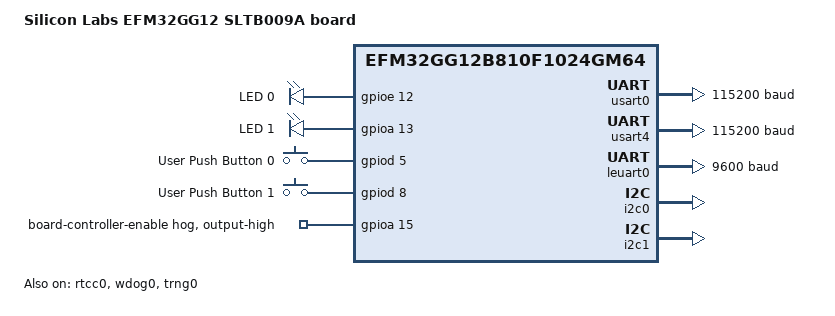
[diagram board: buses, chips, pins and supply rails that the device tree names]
/*
 * Copyright (c) 2023 Antmicro <www.antmicro.com>
 *
 * SPDX-License-Identifier: Apache-2.0
 */

/dts-v1/;
#include <silabs/efm32gg12b810f1024gm64.dtsi>
#include <zephyr/dt-bindings/input/input-event-codes.h>
#include "sltb009a-pinctrl.dtsi"

/ {
	model = "Silicon Labs EFM32GG12 SLTB009A board";
	compatible = "silabs,sltb009a";

	chosen {
		zephyr,console = &usart0;
		zephyr,shell-uart = &usart0;
		zephyr,uart-pipe = &usart0;
		zephyr,sram = &sram0;
		zephyr,flash = &flash0;
	};

	/* These aliases are provided for compatibility with samples */
	aliases {
		led0 = &led0;
		led1 = &led1;
		sw0 = &button0;
		sw1 = &button1;
		watchdog0 = &wdog0;
	};

	leds {
		compatible = "gpio-leds";
		led0: led_0 {
			gpios = <&gpioe 12 GPIO_ACTIVE_HIGH>;
			label = "LED 0";
		};
		led1: led_1 {
			gpios = <&gpioa 13 GPIO_ACTIVE_HIGH>;
			label = "LED 1";
		};
	};

	buttons {
		compatible = "gpio-keys";
		button0: button_0 {
			gpios = <&gpiod 5 GPIO_ACTIVE_HIGH>;
			label = "User Push Button 0";
			zephyr,code = <INPUT_KEY_0>;
		};
		button1: button_1 {
			gpios = <&gpiod 8 GPIO_ACTIVE_HIGH>;
			label = "User Push Button 1";
			zephyr,code = <INPUT_KEY_1>;
		};
	};
};

&usart0 {
	current-speed = <115200>;
	pinctrl-0 = <&usart0_default>;
	pinctrl-names = "default";
	status = "okay";
};

&usart4 {
	current-speed = <115200>;
	location-rx = <GECKO_LOCATION(0) GECKO_PORT_B GECKO_PIN(8)>;
	location-tx = <GECKO_LOCATION(0) GECKO_PORT_B GECKO_PIN(7)>;
	status = "okay";
};

&leuart0 {
	current-speed = <9600>;
	location-rx = <GECKO_LOCATION(1) GECKO_PORT_B GECKO_PIN(14)>;
	location-tx = <GECKO_LOCATION(1) GECKO_PORT_B GECKO_PIN(13)>;
	status = "okay";
};

&i2c0 {
	pinctrl-0 = <&i2c0_default>;
	pinctrl-names = "default";
	status = "okay";
};

&i2c1 {
	pinctrl-0 = <&i2c1_default>;
	pinctrl-names = "default";
	status = "okay";
};

&rtcc0 {
	prescaler = <1>;
	status = "okay";
};

&gpioa {
	status = "okay";
	board-controller-enable {
		// VCOM Isolation. Set PA15 to HIGH to enable VCOM_{RX,TX}.
		gpio-hog;
		gpios = <15 GPIO_ACTIVE_HIGH>;
		output-high;
	};
};

&gpio {
	location-swo = <0>;
	status = "okay";
};

&gpiob {
	status = "okay";
};

&gpioc {
	status = "okay";
};

&gpiod {
	status = "okay";
};

&gpioe {
	status = "okay";
};

&gpiof {
	status = "okay";
};

&flash0 {
	partitions {
		compatible = "fixed-partitions";
		#address-cells = <1>;
		#size-cells = <1>;

		/* Set 12Kb of storage at the end of the 2048Kb of flash */
		storage_partition: partition@1fd000 {
			label = "storage";
			reg = <0x001fd000 0x00003000>;
		};
	};
};

&wdog0 {
	status = "okay";
};

&trng0 {
	status = "okay";
};

&cpu0 {
	clock-frequency = <72000000>;
};
